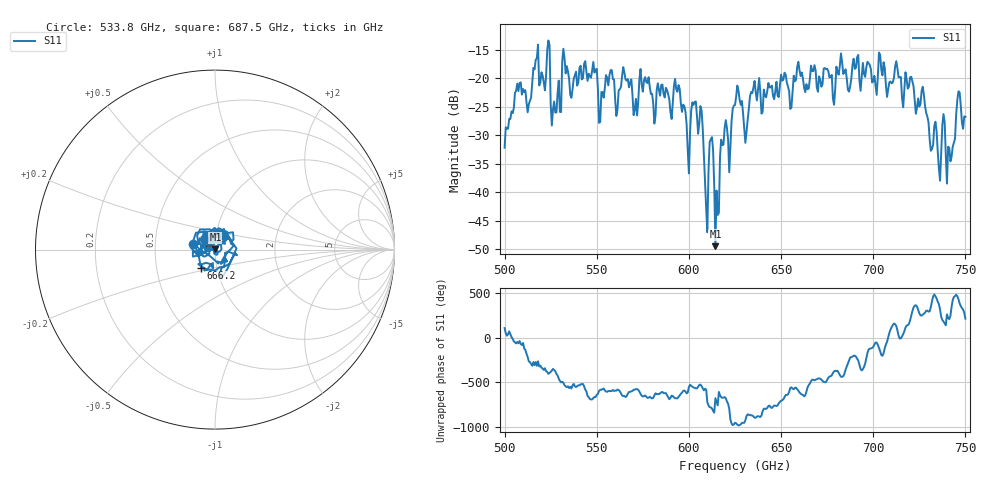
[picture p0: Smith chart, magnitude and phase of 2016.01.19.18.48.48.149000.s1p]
!Created with skrf (http://scikit-rf.org).
# GHz S RI R 50.0
!freq ReS11 ImS11
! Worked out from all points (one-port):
!   401 points, 500 GHz to 750 GHz, reference 50 ohm
!   lowest |S11| = -49.5 dB at 614.4 GHz (marker M1), VSWR 1.01, Z = 50.2 + j0.227 ohm
!   |S11| at or under -10 dB: start of sweep to end of sweep
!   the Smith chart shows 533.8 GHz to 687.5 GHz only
!   S11 on the Smith chart (normalised r, x): 533.8 GHz: 0.78, +0.05; 666.2 GHz: 0.84, -0.18; 687.5 GHz: 0.88, +0.10
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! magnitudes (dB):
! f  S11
! 500 GHz  -32.2
! 507.5 GHz  -22.2
! 513.1 GHz  -24.6
! 516.9 GHz  -16.8
! 523.8 GHz  -13.3
! 526.9 GHz  -24.1
! 531.2 GHz  -17.1
! 533.8 GHz  -17.9
! 562.5 GHz  -21.9
! 593.8 GHz  -22.3
! 599.4 GHz  -32.7
! 602.5 GHz  -24.7
! 606.2 GHz  -24.9
! 609.4 GHz  -42.9
! 612.5 GHz  -30.3
! 614.4 GHz  -49.5
! 625 GHz  -24.7
! 630.6 GHz  -31.3
! 634.4 GHz  -22.6
! 656.2 GHz  -22.2
! 666.2 GHz  -17.8
! 687.5 GHz  -21.4
! 718.8 GHz  -21.8
! 735.6 GHz  -35.8
! 738.1 GHz  -26.3
! 741.2 GHz  -32.2
! 746.2 GHz  -22.3
! 750 GHz  -26.7
